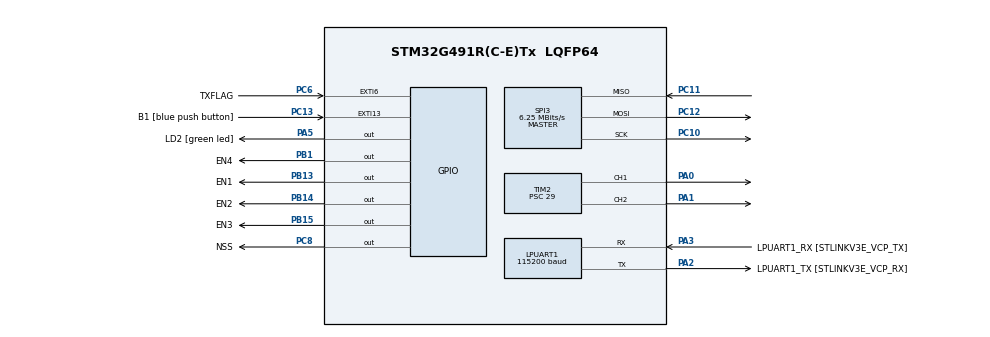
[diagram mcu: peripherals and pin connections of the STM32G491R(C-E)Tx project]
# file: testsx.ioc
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LPUART1.BaudRate=115200
LPUART1.WordLength=UART_WORDLENGTH_8B
Mcu.Family=STM32G4
Mcu.Name=STM32G491R(C-E)Tx
Mcu.Package=LQFP64
NVIC.EXTI15_10_IRQn=true\:0\:0\:false\:false\:true\:true\:true\:true
NVIC.EXTI9_5_IRQn=true\:0\:0\:false\:false\:true\:true\:true\:true
NVIC.PriorityGroup=NVIC_PRIORITYGROUP_4
PA0.Signal=S_TIM2_CH1
PA1.Signal=S_TIM2_CH2
PA13.GPIO_Label=T_SWDIO
PA13.Mode=Serial_Wire
PA13.Signal=SYS_JTMS-SWDIO
PA14.GPIO_Label=T_SWCLK
PA14.Mode=Serial_Wire
PA14.Signal=SYS_JTCK-SWCLK
PA2.GPIO_Label=LPUART1_TX [STLINKV3E_VCP_RX]
PA2.Mode=Asynchronous
PA2.Signal=LPUART1_TX
PA3.GPIO_Label=LPUART1_RX [STLINKV3E_VCP_TX]
PA3.Mode=Asynchronous
PA3.Signal=LPUART1_RX
PA5.GPIO_Label=LD2 [green led]
PA5.Signal=GPIO_Output
PB1.GPIO_Label=EN4
PB1.Signal=GPIO_Output
PB13.GPIO_Label=EN1
PB13.Signal=GPIO_Output
PB14.GPIO_Label=EN2
PB14.Signal=GPIO_Output
PB15.GPIO_Label=EN3
PB15.Signal=GPIO_Output
PB3.GPIO_Label=T_SWO
PB3.Signal=SYS_JTDO-SWO
PC10.GPIO_PuPd=GPIO_NOPULL
PC10.Mode=Full_Duplex_Master
PC10.Signal=SPI3_SCK
PC11.Mode=Full_Duplex_Master
PC11.Signal=SPI3_MISO
PC12.Mode=Full_Duplex_Master
PC12.Signal=SPI3_MOSI
PC13.GPIO_Label=B1 [blue push button]
PC13.Signal=GPXTI13
PC14-OSC32_IN.Mode=LSE-External-Oscillator
PC14-OSC32_IN.Signal=RCC_OSC32_IN
PC15-OSC32_OUT.Mode=LSE-External-Oscillator
PC15-OSC32_OUT.Signal=RCC_OSC32_OUT
PC6.GPIO_Label=TXFLAG
PC6.Signal=GPXTI6
PC8.GPIO_Label=NSS
PC8.PinState=GPIO_PIN_SET
PC8.Signal=GPIO_Output
PF0-OSC_IN.Mode=HSE-External-Oscillator
PF0-OSC_IN.Signal=RCC_OSC_IN
PF1-OSC_OUT.Mode=HSE-External-Oscillator
PF1-OSC_OUT.Signal=RCC_OSC_OUT
ProjectManager.HeapSize=0x200
ProjectManager.StackSize=0x400
ProjectManager.TargetToolchain=STM32CubeIDE
RCC.ADC12Freq_Value=100000000
RCC.ADC345Freq_Value=100000000
RCC.AHBFreq_Value=100000000
RCC.APB1Freq_Value=100000000
RCC.APB1TimFreq_Value=100000000
RCC.APB2Freq_Value=100000000
RCC.APB2TimFreq_Value=100000000
RCC.CortexFreq_Value=100000000
RCC.EXTERNAL_CLOCK_VALUE=12288000
RCC.HCLKFreq_Value=100000000
RCC.HSE_VALUE=10000000
RCC.HSI48_VALUE=48000000
RCC.HSI_VALUE=16000000
RCC.PLLM=RCC_PLLM_DIV2
RCC.PLLN=25
RCC.RTCClockSelection=RCC_RTCCLKSOURCE_LSE
RCC.SYSCLKFreq_VALUE=100000000
RCC.SYSCLKSource=RCC_SYSCLKSOURCE_PLLCLK
RCC.USBFreq_Value=48000000
RCC.VCOOutputFreq_Value=200000000
SH.S_TIM2_CH1.0=TIM2_CH1,PWM Generation1 CH1
SH.S_TIM2_CH2.0=TIM2_CH2,PWM Generation2 CH2
SPI3.BaudRatePrescaler=SPI_BAUDRATEPRESCALER_16
SPI3.CalculateBaudRate=6.25 MBits/s
SPI3.Direction=SPI_DIRECTION_2LINES
SPI3.Mode=SPI_MODE_MASTER
SPI3.NSSPMode=SPI_NSS_PULSE_DISABLE
SPI3.VirtualType=VM_MASTER
TIM2.AutoReloadPreload=TIM_AUTORELOAD_PRELOAD_ENABLE
TIM2.Channel-PWM\ Generation1\ CH1=TIM_CHANNEL_1
TIM2.Channel-PWM\ Generation2\ CH2=TIM_CHANNEL_2
TIM2.PeriodNoDither=99
TIM2.Prescaler=29
VP_SYS_VS_DBSignals.Mode=DisableDeadBatterySignals
VP_TIM2_VS_ClockSourceINT.Mode=Internal
board=NUCLEO-G491RE

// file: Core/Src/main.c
/* USER CODE BEGIN Header */
/**
  ******************************************************************************
  * @file           : main.c
  * @brief          : Main program body
  ******************************************************************************
  * @attention
  *
  * Copyright (c) 2024 STMicroelectronics.
  * All rights reserved.
  *
  * This software is licensed under terms that can be found in the LICENSE file
  * in the root directory of this software component.
  * If no LICENSE file comes with this software, it is provided AS-IS.
  *
  ******************************************************************************
  */
/* USER CODE END Header */
#include "main.h"
#include "usart.h"
#include "spi.h"
#include "tim.h"
#include "gpio.h"

/* USER CODE BEGIN Includes */
#include "LoRa.h"
#include "stering.h"
#include "print.h"
/* USER CODE END Includes */

void SystemClock_Config(void);

int main(void)
{

  /* MCU Configuration--------------------------------------------------------*/

  /* Reset of all peripherals, Initializes the Flash interface and the Systick. */
  LL_APB2_GRP1_EnableClock(LL_APB2_GRP1_PERIPH_SYSCFG);
  LL_APB1_GRP1_EnableClock(LL_APB1_GRP1_PERIPH_PWR);

  /* System interrupt init*/
  NVIC_SetPriorityGrouping(NVIC_PRIORITYGROUP_4);

  /** Disable the internal Pull-Up in Dead Battery pins of UCPD peripheral
  */
  LL_PWR_DisableUCPDDeadBattery();

  /* Configure the system clock */
  SystemClock_Config();

  /* Initialize all configured peripherals */
  MX_GPIO_Init();
  MX_LPUART1_UART_Init();
  MX_SPI3_Init();
  MX_TIM2_Init();
  /* USER CODE BEGIN 2 */

  lora_s lora =
  {
	.bandwidth = khz_125,
	.sf = SF_10,
	.pa_boost = SET_BIT,
	.max_power = 3,
	.output_power = 14,
	.lna_gain = 6
  };

  lora_init(&lora);
  lora_init_receive();

  LL_TIM_EnableCounter(TIM2);
  LL_TIM_CC_EnableChannel(TIM2,LL_TIM_CHANNEL_CH1);
  LL_TIM_CC_EnableChannel(TIM2,LL_TIM_CHANNEL_CH2);

  /* USER CODE END 2 */

  /* Infinite loop */
  /* USER CODE BEGIN WHILE */

  while (1)
  {
	  start();
    /* USER CODE END WHILE */

  }
}

void SystemClock_Config(void)
{
  LL_FLASH_SetLatency(LL_FLASH_LATENCY_3);
  while(LL_FLASH_GetLatency() != LL_FLASH_LATENCY_3)
  {
  }
  LL_PWR_SetRegulVoltageScaling(LL_PWR_REGU_VOLTAGE_SCALE1);
  LL_RCC_HSI_Enable();
   /* Wait till HSI is ready */
  while(LL_RCC_HSI_IsReady() != 1)
  {
  }

  LL_RCC_HSI_SetCalibTrimming(64);
  LL_RCC_PLL_ConfigDomain_SYS(LL_RCC_PLLSOURCE_HSI, LL_RCC_PLLM_DIV_2, 25, LL_RCC_PLLR_DIV_2);
  LL_RCC_PLL_EnableDomain_SYS();
  LL_RCC_PLL_Enable();
   /* Wait till PLL is ready */
  while(LL_RCC_PLL_IsReady() != 1)
  {
  }

  LL_RCC_SetSysClkSource(LL_RCC_SYS_CLKSOURCE_PLL);
  LL_RCC_SetAHBPrescaler(LL_RCC_SYSCLK_DIV_2);
   /* Wait till System clock is ready */
  while(LL_RCC_GetSysClkSource() != LL_RCC_SYS_CLKSOURCE_STATUS_PLL)
  {
  }

  /* Insure 1us transition state at intermediate medium speed clock*/
  for (__IO uint32_t i = (170 >> 1); i !=0; i--);

  /* Set AHB prescaler*/
  LL_RCC_SetAHBPrescaler(LL_RCC_SYSCLK_DIV_1);
  LL_RCC_SetAPB1Prescaler(LL_RCC_APB1_DIV_1);
  LL_RCC_SetAPB2Prescaler(LL_RCC_APB2_DIV_1);

  LL_Init1msTick(100000000);

  LL_SetSystemCoreClock(100000000);
}

void Error_Handler(void)
{
  __disable_irq();
  while (1)
  {
  }
}
